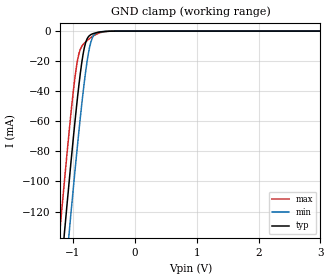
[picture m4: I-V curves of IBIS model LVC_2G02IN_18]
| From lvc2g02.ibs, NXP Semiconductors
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|   Model LVC_2G02IN_18
[Model]   LVC_2G02IN_18
Model_type   Input
Vinl =   0.63V
Vinh =   1.17V
C_comp   3.07pF   2.35pF   3.88pF
[Model Spec]
| Note: The input and output voltage ratings may be exceeded if the input and
|   output current ratings are observed (please refer to the data sheet)
|   Subparameter   typ   min   max
| Thresholds
Vinh   1.17   1.0725   1.2675
Vinl   0.63   0.5775   0.6825
| Overshoot
S_overshoot_high   6.5   6.5   6.5   | Static overshoot
S_overshoot_low   -0.5   -0.5   -0.5
D_overshoot_high   7.2   7.2   7.2   | Dynamic overshoot
D_overshoot_low   -0.95   -0.9   -1.0
D_overshoot_time   3n   3n   3n
|Ambient temperature:   25   85   -40
[Temperature Range]   25   85   -40
[Voltage Range]   1.80V   1.65V   1.95V
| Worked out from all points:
|   GND clamp passes 1 mA (typ) near -0.61 V on its own axis
|Process Range   nominal   slow   fast
[GND_clamp]
| voltage   I(typ)   I(min)   I(max)
-5.5V     -2.277A    -2.307A    -2.246A
-1.221V   -173.6mA   -208.2mA   -138.8mA
-1.2V     -163.7mA   -198.3mA   -129mA
-1.136V   -134.3mA   -168.7mA   -99.82mA
-1.071V   -105.4mA   -139.6mA   -71.73mA
-1.05V    -95.98mA   -130mA     -62.73mA
-942.9mV  -51.21mA   -83.48mA   -24.05mA
-900mV    -35.22mA   -65.87mA   -14.8mA
-835.7mV  -15.71mA   -41.31mA   -9.021mA
-728.6mV  -2.901mA   -10.64mA   -4.899mA
-642.9mV  -1.321mA   -1.88mA    -2.576mA
5.5V      0A         0A         0A
